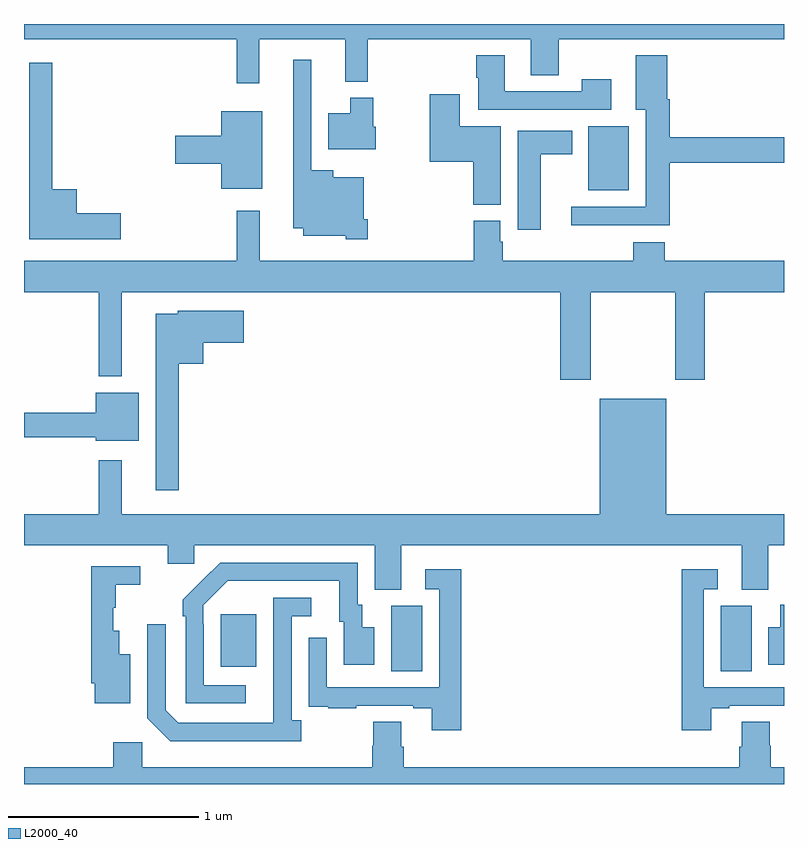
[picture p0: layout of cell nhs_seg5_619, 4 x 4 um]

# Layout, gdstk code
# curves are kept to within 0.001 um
import gdstk
lib = gdstk.Library(unit=1e-6, precision=1e-09)
def R(c, l, rs):  # rectangles x0, y0, x1, y1
    for r in rs: c.add(gdstk.rectangle(r[:2], r[2:], *l))
def P(c, l, *ps):  # polygons
    for p in ps: c.add(gdstk.Polygon(p, *l))
L2000_40 = (2000, 40)

nhs_seg5_619 = lib.new_cell('nhs_seg5_619')
R(nhs_seg5_619, L2000_40, [(150.932,893.392,151.096,893.736), (152.666,893.392,152.83,893.736), (150.035,893.417,150.223,893.692), (151.97,895.925,152.182,896.26)])
P(nhs_seg5_619, L2000_40, [(149,896.72),(150.121,896.72),(150.121,896.487),(150.239,896.487),(150.239,896.72),(150.692,896.72),(150.692,896.495),(150.809,896.495),(150.809,896.72),(151.667,896.72),(151.667,896.53),(151.815,896.53),(151.815,896.72),(153,896.72),(153,896.799),(149,896.799)],
  [(152.399,896.068),(153,896.068),(153,896.204),(152.399,896.204),(152.399,896.402),(152.386,896.402),(152.386,896.635),(152.219,896.635),(152.219,896.348),(152.273,896.348),(152.273,895.836),(151.881,895.836),(151.881,895.739),(152.399,895.739)],
  [(152.092,896.509),(151.936,896.509),(151.936,896.445),(151.531,896.445),(151.531,896.635),(151.379,896.635),(151.379,896.515),(151.391,896.515),(151.391,896.349),(152.092,896.349)],
  [(150.809,895.771),(150.787,895.771),(150.787,895.993),(150.628,895.993),(150.628,896.029),(150.513,896.029),(150.513,896.611),(150.416,896.611),(150.416,895.724),(150.47,895.724),(150.47,895.685),(150.693,895.685),(150.693,895.667),(150.809,895.667)],
  [(149.509,895.802),(149.278,895.802),(149.278,895.93),(149.149,895.93),(149.149,896.596),(149.027,896.596),(149.027,895.667),(149.509,895.667)],
  [(151.51,896.26),(151.294,896.26),(151.294,896.428),(151.136,896.428),(151.136,896.075),(151.364,896.075),(151.364,895.849),(151.51,895.849)],
  [(150.85,896.259),(150.838,896.259),(150.838,896.41),(150.716,896.41),(150.716,896.329),(150.602,896.329),(150.602,896.141),(150.85,896.141)],
  [(150.253,896.341),(150.038,896.341),(150.038,896.21),(149.796,896.21),(149.796,896.063),(150.038,896.063),(150.038,895.931),(150.253,895.931)],
  [(151.72,896.114),(151.885,896.114),(151.885,896.236),(151.598,896.236),(151.598,895.716),(151.72,895.716)],
  [(151.983,895.388),(152.428,895.388),(152.428,894.927),(152.583,894.927),(152.583,895.388),(153,895.388),(153,895.552),(152.372,895.552),(152.372,895.651),(152.207,895.651),(152.207,895.552),(151.52,895.552),(151.52,895.653),(151.507,895.653),(151.507,895.764),(151.367,895.764),(151.367,895.552),(150.24,895.552),(150.24,895.816),(150.121,895.816),(150.121,895.552),(149,895.552),(149,895.388),(149.394,895.388),(149.394,894.944),(149.515,894.944),(149.515,895.388),(151.823,895.388),(151.823,894.927),(151.983,894.927)],
  [(149.815,895.01),(149.944,895.01),(149.944,895.121),(150.157,895.121),(150.157,895.291),(149.808,895.291),(149.808,895.273),(149.693,895.273),(149.693,894.345),(149.815,894.345)],
  [(149.605,894.859),(149.378,894.859),(149.378,894.752),(149,894.752),(149,894.624),(149.378,894.624),(149.378,894.605),(149.605,894.605)],
  [(150.985,894.056),(152.777,894.056),(152.777,893.821),(152.917,893.821),(152.917,894.056),(153,894.056),(153,894.22),(152.38,894.22),(152.38,894.826),(152.03,894.826),(152.03,894.22),(149.515,894.22),(149.515,894.502),(149.394,894.502),(149.394,894.22),(149,894.22),(149,894.056),(149.756,894.056),(149.756,893.958),(149.895,893.958),(149.895,894.056),(150.845,894.056),(150.845,893.821),(150.985,893.821)],
  [(150.166,893.319),(149.946,893.319),(149.946,893.639),(149.943,893.639),(149.943,893.739),(150.072,893.868),(150.659,893.868),(150.659,893.652),(150.683,893.652),(150.683,893.427),(150.844,893.427),(150.844,893.623),(150.781,893.623),(150.781,893.742),(150.756,893.742),(150.756,893.964),(150.032,893.964),(149.835,893.769),(149.835,893.681),(149.85,893.681),(149.85,893.223),(150.166,893.223)],
  [(149.56,893.482),(149.5,893.482),(149.5,893.605),(149.471,893.605),(149.471,893.727),(149.482,893.727),(149.482,893.848),(149.611,893.848),(149.611,893.946),(149.353,893.946),(149.353,893.329),(149.372,893.329),(149.372,893.225),(149.56,893.225)],
  [(151.301,893.929),(151.113,893.929),(151.113,893.823),(151.185,893.823),(151.185,893.307),(150.594,893.307),(150.594,893.569),(150.498,893.569),(150.498,893.314),(150.499,893.314),(150.499,893.205),(150.601,893.205),(150.601,893.199),(150.749,893.199),(150.749,893.211),(151.049,893.211),(151.049,893.199),(151.145,893.199),(151.145,893.082),(151.301,893.082)],
  [(152.617,893.199),(152.713,893.199),(152.713,893.211),(153,893.211),(153,893.307),(152.577,893.307),(152.577,893.823),(152.65,893.823),(152.65,893.929),(152.461,893.929),(152.461,893.082),(152.617,893.082)],
  [(150.46,893.134),(150.408,893.134),(150.408,893.682),(150.511,893.682),(150.511,893.778),(150.312,893.778),(150.311,893.121),(149.811,893.121),(149.745,893.187),(149.745,893.641),(149.649,893.641),(149.649,893.145),(149.77,893.024),(150.46,893.024)],
  [(153,893.742),(152.981,893.742),(152.981,893.623),(152.918,893.623),(152.918,893.427),(153,893.427)],
  [(153,892.888),(152.93,892.888),(152.93,893.001),(152.925,893.001),(152.925,893.126),(152.777,893.126),(152.777,892.994),(152.765,892.994),(152.765,892.888),(150.998,892.888),(150.998,892.994),(150.985,892.994),(150.985,893.126),(150.838,893.126),(150.838,893.001),(150.833,893.001),(150.833,892.888),(149.622,892.888),(149.622,893.02),(149.471,893.02),(149.471,892.888),(149,892.888),(149,892.799),(153,892.799)])

lib.write_gds('nhs_seg5_619.gds')
